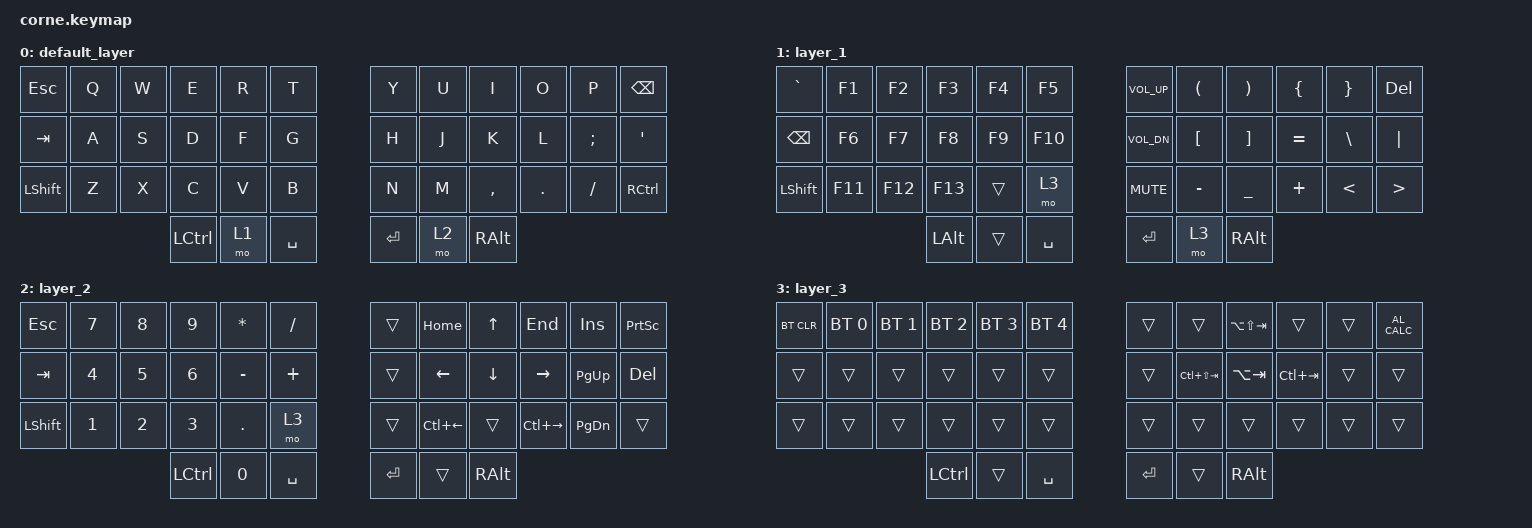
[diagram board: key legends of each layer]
/*
 * Copyright (c) 2020 The ZMK Contributors
 *
 * SPDX-License-Identifier: MIT
 */

#include <behaviors.dtsi>
#include <dt-bindings/zmk/keys.h>
#include <dt-bindings/zmk/bt.h>

/ {
    keymap {
        compatible = "zmk,keymap";

        default_layer {
// ┌─────────┬─────┬─────┬─────┬─────┬─────┐   ┌─────┬─────┬─────┬─────┬─────┬────────┐
// │   ESC   │  Q  │  W  │  E  │  R  │  T  │   │  Y  │  U  │  I  │  O  │  P  │  BSPC  │
// ├─────────┼─────┼─────┼─────┼─────┼─────┤   ├─────┼─────┼─────┼─────┼─────┼────────┤
// │   TAB   │  A  │  S  │  D  │  F  │  G  │   │  H  │  J  │  K  │  L  │  ;  │   '    │
// ├─────────┼─────┼─────┼─────┼─────┼─────┤   ├─────┼─────┼─────┼─────┼─────┼────────┤
// │  SHFT   │  Z  │  X  │  C  │  V  │  B  │   │  N  │  M  │  ,  │  .  │  /  │ RCTRL  │
// └─────────┴─────┴─────┴──┬──┴──┬──┴──┬──┘   └──┬──┴──┬──┴──┬──┴─────┴─────┴────────┘
//                          │LCTRL│ MO1 │SPC│   │ENT│ MO2 │RALT│
//                          └─────┴─────┴───┘   └───┴─────┴────┘
            bindings = <
   &kp ESC   &kp Q &kp W &kp E &kp R &kp T   &kp Y &kp U  &kp I     &kp O   &kp P    &kp BSPC
   &kp TAB   &kp A &kp S &kp D &kp F &kp G   &kp H &kp J  &kp K     &kp L   &kp SEMI &kp SQT
   &kp LSHFT &kp Z &kp X &kp C &kp V &kp B   &kp N &kp M  &kp COMMA &kp DOT &kp FSLH &kp RCTRL
                   &kp LCTRL &mo 1 &kp SPACE   &kp RET &mo 2 &kp RALT
            >;
        };

        layer_1 {
// Símbolos + Fn  (hold MO1)
// ┌───────┬─────┬─────┬─────┬─────┬─────┐   ┌──────┬─────┬─────┬─────┬─────┬─────┐
// │ GRAVE │ F1  │ F2  │ F3  │ F4  │ F5  │   │ VOL+ │  (  │  )  │  {  │  }  │ DEL │
// ├───────┼─────┼─────┼─────┼─────┼─────┤   ├──────┼─────┼─────┼─────┼─────┼─────┤
// │  BSPC │ F6  │ F7  │ F8  │ F9  │ F10 │   │ VOL- │  [  │  ]  │  =  │  \  │  |  │
// ├───────┼─────┼─────┼─────┼─────┼─────┤   ├──────┼─────┼─────┼─────┼─────┼─────┤
// │  SHFT │ F11 │ F12 │ F13 │     │ MO3 │   │ MUTE │  -  │  _  │  +  │  <  │  >  │
// └───────┴─────┴─────┴──┬──┴──┬──┴──┬──┘   └──┬───┴──┬──┴──┬──┴─────┴─────┴─────┘
//                        │LALT │     │SPC│   │RET│ MO3 │RALT│
//                        └─────┴─────┴───┘   └───┴─────┴────┘
            bindings = <
   &kp GRAVE  &kp F1  &kp F2  &kp F3  &kp F4 &kp F5   &kp C_VOL_UP &kp LPAR  &kp RPAR  &kp LBRC  &kp RBRC &kp DELETE
   &kp BSPC   &kp F6  &kp F7  &kp F8  &kp F9 &kp F10  &kp C_VOL_DN &kp LBKT  &kp RBKT  &kp EQUAL &kp BSLH &kp PIPE
   &kp LSHFT  &kp F11 &kp F12 &kp F13 &trans &mo 3    &kp C_MUTE   &kp MINUS &kp UNDER &kp PLUS  &kp LT   &kp GT
                      &kp LALT &trans &kp SPACE   &kp RET &mo 3 &kp RALT
            >;
        };

        layer_2 {
// Numpad + Navegação  (hold MO2)
// ┌───────┬─────┬─────┬─────┬─────┬─────┐   ┌─────┬──────┬──────┬───────┬───────┬────────┐
// │  ESC  │  7  │  8  │  9  │  *  │  /  │   │     │ HOME │  UP  │  END  │  INS  │ PSCRN  │
// ├───────┼─────┼─────┼─────┼─────┼─────┤   ├─────┼──────┼──────┼───────┼───────┼────────┤
// │  TAB  │  4  │  5  │  6  │  -  │  +  │   │     │ LEFT │ DOWN │ RIGHT │ PG_UP │  DEL   │
// ├───────┼─────┼─────┼─────┼─────┼─────┤   ├─────┼──────┼──────┼───────┼───────┼────────┤
// │  SHFT │  1  │  2  │  3  │  .  │ MO3 │   │     │  C-← │      │  C-→  │ PG_DN │        │
// └───────┴─────┴─────┴──┬──┴──┬──┴──┬──┘   └──┬──┴──────┴──┬───┴───────┴───────┴────────┘
//                        │LCTRL│  0  │SPC│   │ENT│     │RALT│
//                        └─────┴─────┴───┘   └───┴─────┴────┘
            bindings = <
   &kp ESC   &kp N7 &kp N8 &kp N9 &kp STAR  &kp FSLH   &trans &kp HOME     &kp UP   &kp END       &kp INS   &kp PSCRN
   &kp TAB   &kp N4 &kp N5 &kp N6 &kp MINUS &kp PLUS   &trans &kp LEFT     &kp DOWN &kp RIGHT     &kp PG_UP &kp DELETE
   &kp LSHFT &kp N1 &kp N2 &kp N3 &kp DOT   &mo 3      &trans &kp LC(LEFT) &trans   &kp LC(RIGHT) &kp PG_DN &trans
                    &kp LCTRL &kp N0 &kp SPACE   &kp RET &trans &kp RALT
            >;
        };

        layer_3 {
// Sistema: Bluetooth + Janelas  (MO1 + MO2)
// ┌────────┬──────┬──────┬──────┬──────┬──────┐   ┌─────┬─────────┬──────────┬──────────┬─────┬──────┐
// │ BT_CLR │  BT0 │  BT1 │  BT2 │  BT3 │  BT4 │   │     │         │ NEXT WIN │          │     │ CALC │
// ├────────┼──────┼──────┼──────┼──────┼──────┤   ├─────┼─────────┼──────────┼──────────┼─────┼──────┤
// │        │      │      │      │      │      │   │     │ PREV TAB │ PREV WIN │ NEXT TAB │     │      │
// ├────────┼──────┼──────┼──────┼──────┼──────┤   ├─────┼─────────┼──────────┼──────────┼─────┼──────┤
// │        │      │      │      │      │      │   │     │         │          │          │     │      │
// └────────┴──────┴──────┴──┬───┴──┬───┴──┬───┘   └──┬──┴─────────┴──┬───────┴──────────┴─────┴──────┘
//                           │LCTRL │     │SPC│    │ENT│      │RALT│
//                           └──────┴─────┴───┘    └───┴──────┴────┘
            bindings = <
   &bt BT_CLR &bt BT_SEL 0 &bt BT_SEL 1 &bt BT_SEL 2 &bt BT_SEL 3 &bt BT_SEL 4   &trans &trans          &kp LA(LS(TAB)) &trans      &trans &kp C_AL_CALC
   &trans     &trans       &trans       &trans       &trans       &trans            &trans &kp LC(LS(TAB)) &kp LA(TAB)     &kp LC(TAB) &trans &trans
   &trans     &trans       &trans       &trans       &trans       &trans            &trans &trans          &trans          &trans      &trans &trans
                           &kp LCTRL &trans &kp SPACE   &kp RET &trans &kp RALT
            >;
        };
    };
};
